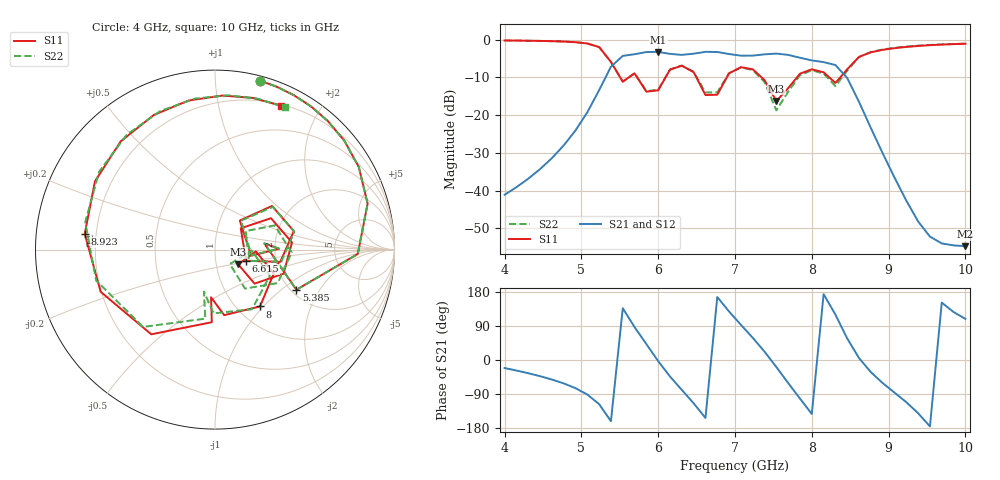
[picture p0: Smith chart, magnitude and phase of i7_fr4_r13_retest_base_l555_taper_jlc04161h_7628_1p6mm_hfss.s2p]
! Touchstone file exported from HFSS 3D Layout Design 2026.1.0
!  File:  D:/Work/ADS/BFP_parallel/BFP_HFSS.aedt
!  Generated:  01:00:25 PM Aug  9, 2026
!  Design:  I7_FR4_HFSS_VERDICT
!  Project:  BFP_HFSS
# GHz S MA R 50.000000
! Terminal data exported
! Port[1] = Port1
! Port[2] = Port2
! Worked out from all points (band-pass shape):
!   40 points, 4 GHz to 10 GHz, reference 50 ohm
!   highest |S21| = -3.24 dB at 6 GHz (marker M1); lowest = -54.7 dB at 10 GHz (marker M2)
!   |S21| within 3 dB of the highest: 5.435 GHz to 8.209 GHz (2.774 GHz wide, 40.7 % of centre)
!   lowest |S11| = -16.3 dB at 7.538 GHz (marker M3), VSWR 1.36, Z = 63.8 - j10.8 ohm
!   |S11| at or under -10 dB: 5.726 GHz to 6.097 GHz (370.9 MHz wide, 6.28 % of centre); 6.496 GHz to 6.894 GHz (398 MHz wide, 5.95 % of centre); 7.346 GHz to 7.807 GHz (461.8 MHz wide, 6.1 % of centre)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
!   |S22| runs from -18.7 to -0.2 dB; largest |S21 - S12| = 1.8e-14
!   S11 on the Smith chart (normalised r, x): 4 GHz: 0.04, +1.30; 5.385 GHz: 2.14, -1.28; 6.615 GHz: 1.41, -0.18; 8 GHz: 1.27, -0.96; 8.923 GHz: 0.16, +0.06; 10 GHz: 0.21, +1.53
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4  0.974 75.2  0.008779 -21.2  0.008779 -21.2  0.9737 75.2
5.076923  0.8882 16.8  0.1088 -91.0  0.1088 -91.0  0.8878 16.7
5.384615  0.5059 -26.2  0.4372 -161.5  0.4372 -161.5  0.5056 -26.3
5.538462  0.2771 7.1  0.6084 136.6  0.6084 136.6  0.2771 7.1
5.692308  0.3569 0.8  0.6393 86.7  0.6393 86.7  0.3576 0.9
6  0.2129 49.5  0.6883 -3.2  0.6883 -3.2  0.2164 48.0
6.307692  0.4511 13.2  0.6272 -79.0  0.6272 -79.0  0.453 12.6
6.615385  0.1841 -19.8  0.6882 -152.9  0.6882 -152.9  0.1992 -18.1
6.769231  0.1861 39.5  0.6851 166.2  0.6851 166.2  0.1999 31.0
7.076923  0.4308 5.3  0.6125 92.9  0.6125 92.9  0.4273 -2.1
7.384615  0.2908 -40.7  0.6379 22.0  0.6379 22.0  0.2743 -52.4
7.538462  0.1533 -32.4  0.6526 -18.5  0.6526 -18.5  0.1155 -44.1
7.692308  0.2275 -2.5  0.6268 -60.7  0.6268 -60.7  0.2039 -1.4
8  0.4039 -51.6  0.5298 -142.5  0.5298 -142.5  0.3911 -58.2
8.153846  0.3688 -82.0  0.5032 173.7  0.5032 173.7  0.3554 -91.3
8.307692  0.2664 -94.8  0.4598 119.7  0.4598 119.7  0.2419 -104.8
8.461538  0.405 -92.5  0.3095 56.7  0.3095 56.7  0.3884 -98.0
8.615385  0.5906 -126.9  0.149 5.0  0.149 5.0  0.5886 -132.9
8.923077  0.7311 173.1  0.03114 -60.9  0.03114 -60.9  0.7391 168.1
9.076923  0.7694 150.4  0.01487 -86.1  0.01487 -86.1  0.7777 146.1
9.538462  0.8435 100.0  0.002453 -175.3  0.002453 -175.3  0.8486 97.5
10  0.8814 65.5  0.001832 108.6  0.001832 108.6  0.8835 63.8
